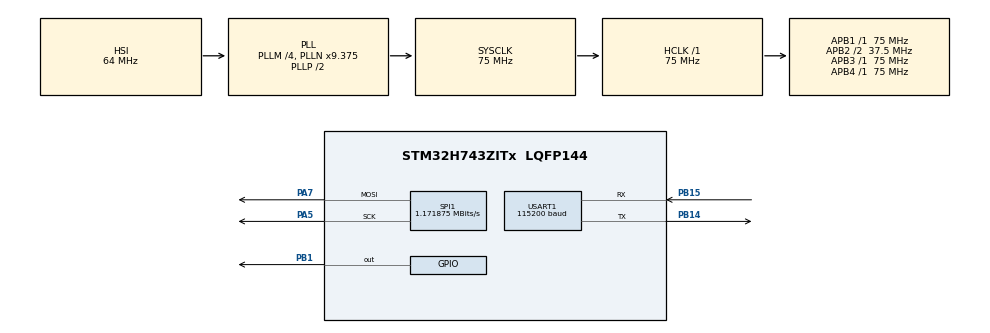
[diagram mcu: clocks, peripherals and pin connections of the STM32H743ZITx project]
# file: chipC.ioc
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CORTEX_M7.default_mode_Activation=1
Mcu.Family=STM32H7
Mcu.Name=STM32H743ZITx
Mcu.Package=LQFP144
NVIC.PriorityGroup=NVIC_PRIORITYGROUP_4
NVIC.USART1_IRQn=true\:0\:0\:false\:false\:true\:true\:true\:true
PA5.Mode=TX_Only_Simplex_Unidirect_Master
PA5.Signal=SPI1_SCK
PA7.Mode=TX_Only_Simplex_Unidirect_Master
PA7.Signal=SPI1_MOSI
PB1.GPIO_ModeDefaultOutputPP=GPIO_MODE_OUTPUT_PP
PB1.GPIO_Speed=GPIO_SPEED_FREQ_VERY_HIGH
PB1.PinState=GPIO_PIN_SET
PB1.Signal=GPIO_Output
PB14.Mode=Asynchronous
PB14.Signal=USART1_TX
PB15.Mode=Asynchronous
PB15.Signal=USART1_RX
ProjectManager.HeapSize=0x200
ProjectManager.StackSize=0x400
ProjectManager.TargetToolchain=CMake
RCC.ADCFreq_Value=129000000
RCC.APB1Freq_Value=75000000
RCC.APB2Freq_Value=37500000
RCC.APB3Freq_Value=75000000
RCC.APB4Freq_Value=75000000
RCC.CortexFreq_Value=75000000
RCC.D2PPRE2=RCC_APB2_DIV2
RCC.DIVM1=4
RCC.DIVN1=9
RCC.HCLKFreq_Value=75000000
RCC.PLLFRACN=3072
RCC.SYSCLKFreq_VALUE=75000000
RCC.SYSCLKSource=RCC_SYSCLKSOURCE_PLLCLK
RCC.USBFreq_Value=75000000
SPI1.BaudRatePrescaler=SPI_BAUDRATEPRESCALER_64
SPI1.CLKPhase=SPI_PHASE_2EDGE
SPI1.CLKPolarity=SPI_POLARITY_HIGH
SPI1.CalculateBaudRate=1.171875 MBits/s
SPI1.DataSize=SPI_DATASIZE_8BIT
SPI1.Direction=SPI_DIRECTION_2LINES_TXONLY
SPI1.Mode=SPI_MODE_MASTER
SPI1.VirtualType=VM_MASTER
USART1.BaudRate=115200
USART1.VirtualMode-Asynchronous=VM_ASYNC
VP_MEMORYMAP_VS_MEMORYMAP.Mode=CurAppReg
board=custom

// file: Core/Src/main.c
/* USER CODE BEGIN Header */
/**
  ******************************************************************************
  * @file           : main.c
  * @brief          : Main program body
  ******************************************************************************
  * @attention
  *
  * Copyright (c) 2026 STMicroelectronics.
  * All rights reserved.
  *
  * This software is licensed under terms that can be found in the LICENSE file
  * in the root directory of this software component.
  * If no LICENSE file comes with this software, it is provided AS-IS.
  *
  ******************************************************************************
  */
/* USER CODE END Header */
#include "main.h"

/* USER CODE BEGIN Includes */
#include <string.h>
#include "UI.h"
#include "fft_math.h"
#include "driver_st7789.h"
#include "driver_st7789_font.h"
/* USER CODE END Includes */

/* USER CODE BEGIN PD */

#define SCREEN_W   320
#define SCREEN_H   240

/* USER CODE END PD */

SPI_HandleTypeDef hspi1;

UART_HandleTypeDef huart1;

/* USER CODE BEGIN PV */

// 单字节接收缓冲(上位机指令)
uint8_t rx_data = '0';

// 示波器y轴缩放倍数
uint8_t y_scale = 1;

//上位机当前页状态标志
PAGE current_page = PAGE_PARAM;

//各页缓存, 第一位作为是否第一次的标志位
uint8_t frame_last[SCREEN_W + 1] = {0};
uint8_t frame_curr[SCREEN_W + 1] = {0};

/* USER CODE END PV */

void SystemClock_Config(void);
static void MPU_Config(void);
static void MX_GPIO_Init(void);
static void MX_USART1_UART_Init(void);
static void MX_SPI1_Init(void);

int main(void)
{

  /* MPU Configuration--------------------------------------------------------*/
  MPU_Config();

  /* MCU Configuration--------------------------------------------------------*/

  /* Reset of all peripherals, Initializes the Flash interface and the Systick. */
  HAL_Init();

  /* Configure the system clock */
  SystemClock_Config();

  /* Initialize all configured peripherals */
  MX_GPIO_Init();
  MX_USART1_UART_Init();
  MX_SPI1_Init();
  /* USER CODE BEGIN 2 */

  // 发送常量字符串或字符数组

  HAL_UART_Receive_IT(&huart1, &rx_data, 1);
  /* 初始化屏幕 */
    st7789_init();

    /* 画红色矩形块 */
    st7789_fill_rect(20, 20, 100, 100, ST7789_COLOR_RED);

    /* 显示字符串 */
    st7789_write_string(20, 120, "STM32H743 OK!", 13, ST7789_COLOR_WHITE, ST7789_FONT_24);

  //LCD_ShowString(20, 50, "Hello STM32!", LCD_WHITE, 24);
  /* USER CODE END 2 */

  /* Infinite loop */
  while (1)
  {

  }
}

void SystemClock_Config(void)
{
  RCC_OscInitTypeDef RCC_OscInitStruct = {0};
  RCC_ClkInitTypeDef RCC_ClkInitStruct = {0};

  /** Supply configuration update enable
  */
  HAL_PWREx_ConfigSupply(PWR_LDO_SUPPLY);

  /** Configure the main internal regulator output voltage
  */
  __HAL_PWR_VOLTAGESCALING_CONFIG(PWR_REGULATOR_VOLTAGE_SCALE3);

  while(!__HAL_PWR_GET_FLAG(PWR_FLAG_VOSRDY)) {}

  /** Initializes the RCC Oscillators according to the specified parameters
  * in the RCC_OscInitTypeDef structure.
  */
  RCC_OscInitStruct.OscillatorType = RCC_OSCILLATORTYPE_HSI;
  RCC_OscInitStruct.HSIState = RCC_HSI_DIV1;
  RCC_OscInitStruct.HSICalibrationValue = RCC_HSICALIBRATION_DEFAULT;
  RCC_OscInitStruct.PLL.PLLState = RCC_PLL_ON;
  RCC_OscInitStruct.PLL.PLLSource = RCC_PLLSOURCE_HSI;
  RCC_OscInitStruct.PLL.PLLM = 4;
  RCC_OscInitStruct.PLL.PLLN = 9;
  RCC_OscInitStruct.PLL.PLLP = 2;
  RCC_OscInitStruct.PLL.PLLQ = 2;
  RCC_OscInitStruct.PLL.PLLR = 2;
  RCC_OscInitStruct.PLL.PLLRGE = RCC_PLL1VCIRANGE_3;
  RCC_OscInitStruct.PLL.PLLVCOSEL = RCC_PLL1VCOMEDIUM;
  RCC_OscInitStruct.PLL.PLLFRACN = 3072;
  if (HAL_RCC_OscConfig(&RCC_OscInitStruct) != HAL_OK)
  {
    Error_Handler();
  }

  /** Initializes the CPU, AHB and APB buses clocks
  */
  RCC_ClkInitStruct.ClockType = RCC_CLOCKTYPE_HCLK|RCC_CLOCKTYPE_SYSCLK
                              |RCC_CLOCKTYPE_PCLK1|RCC_CLOCKTYPE_PCLK2
                              |RCC_CLOCKTYPE_D3PCLK1|RCC_CLOCKTYPE_D1PCLK1;
  RCC_ClkInitStruct.SYSCLKSource = RCC_SYSCLKSOURCE_PLLCLK;
  RCC_ClkInitStruct.SYSCLKDivider = RCC_SYSCLK_DIV1;
  RCC_ClkInitStruct.AHBCLKDivider = RCC_HCLK_DIV1;
  RCC_ClkInitStruct.APB3CLKDivider = RCC_APB3_DIV1;
  RCC_ClkInitStruct.APB1CLKDivider = RCC_APB1_DIV1;
  RCC_ClkInitStruct.APB2CLKDivider = RCC_APB2_DIV2;
  RCC_ClkInitStruct.APB4CLKDivider = RCC_APB4_DIV1;

  if (HAL_RCC_ClockConfig(&RCC_ClkInitStruct, FLASH_LATENCY_1) != HAL_OK)
  {
    Error_Handler();
  }
}

static void MX_SPI1_Init(void)
{

  /* SPI1 parameter configuration*/
  hspi1.Instance = SPI1;
  hspi1.Init.Mode = SPI_MODE_MASTER;
  hspi1.Init.Direction = SPI_DIRECTION_2LINES_TXONLY;
  hspi1.Init.DataSize = SPI_DATASIZE_8BIT;
  hspi1.Init.CLKPolarity = SPI_POLARITY_HIGH;
  hspi1.Init.CLKPhase = SPI_PHASE_2EDGE;
  hspi1.Init.NSS = SPI_NSS_SOFT;
  hspi1.Init.BaudRatePrescaler = SPI_BAUDRATEPRESCALER_64;
  hspi1.Init.FirstBit = SPI_FIRSTBIT_MSB;
  hspi1.Init.TIMode = SPI_TIMODE_DISABLE;
  hspi1.Init.CRCCalculation = SPI_CRCCALCULATION_DISABLE;
  hspi1.Init.CRCPolynomial = 0x0;
  hspi1.Init.NSSPMode = SPI_NSS_PULSE_ENABLE;
  hspi1.Init.NSSPolarity = SPI_NSS_POLARITY_LOW;
  hspi1.Init.FifoThreshold = SPI_FIFO_THRESHOLD_01DATA;
  hspi1.Init.TxCRCInitializationPattern = SPI_CRC_INITIALIZATION_ALL_ZERO_PATTERN;
  hspi1.Init.RxCRCInitializationPattern = SPI_CRC_INITIALIZATION_ALL_ZERO_PATTERN;
  hspi1.Init.MasterSSIdleness = SPI_MASTER_SS_IDLENESS_00CYCLE;
  hspi1.Init.MasterInterDataIdleness = SPI_MASTER_INTERDATA_IDLENESS_00CYCLE;
  hspi1.Init.MasterReceiverAutoSusp = SPI_MASTER_RX_AUTOSUSP_DISABLE;
  hspi1.Init.MasterKeepIOState = SPI_MASTER_KEEP_IO_STATE_DISABLE;
  hspi1.Init.IOSwap = SPI_IO_SWAP_DISABLE;
  if (HAL_SPI_Init(&hspi1) != HAL_OK)
  {
    Error_Handler();
  }

}

static void MX_USART1_UART_Init(void)
{

  huart1.Instance = USART1;
  huart1.Init.BaudRate = 115200;
  huart1.Init.WordLength = UART_WORDLENGTH_8B;
  huart1.Init.StopBits = UART_STOPBITS_1;
  huart1.Init.Parity = UART_PARITY_NONE;
  huart1.Init.Mode = UART_MODE_TX_RX;
  huart1.Init.HwFlowCtl = UART_HWCONTROL_NONE;
  huart1.Init.OverSampling = UART_OVERSAMPLING_16;
  huart1.Init.OneBitSampling = UART_ONE_BIT_SAMPLE_DISABLE;
  huart1.Init.ClockPrescaler = UART_PRESCALER_DIV1;
  huart1.AdvancedInit.AdvFeatureInit = UART_ADVFEATURE_NO_INIT;
  if (HAL_UART_Init(&huart1) != HAL_OK)
  {
    Error_Handler();
  }
  if (HAL_UARTEx_SetTxFifoThreshold(&huart1, UART_TXFIFO_THRESHOLD_1_8) != HAL_OK)
  {
    Error_Handler();
  }
  if (HAL_UARTEx_SetRxFifoThreshold(&huart1, UART_RXFIFO_THRESHOLD_1_8) != HAL_OK)
  {
    Error_Handler();
  }
  if (HAL_UARTEx_DisableFifoMode(&huart1) != HAL_OK)
  {
    Error_Handler();
  }

}

static void MX_GPIO_Init(void)
{
  GPIO_InitTypeDef GPIO_InitStruct = {0};

  /* GPIO Ports Clock Enable */
  __HAL_RCC_GPIOA_CLK_ENABLE();
  __HAL_RCC_GPIOB_CLK_ENABLE();

  /*Configure GPIO pin Output Level */
  HAL_GPIO_WritePin(GPIOB, GPIO_PIN_1, GPIO_PIN_SET);

  /*Configure GPIO pin : PB1 */
  GPIO_InitStruct.Pin = GPIO_PIN_1;
  GPIO_InitStruct.Mode = GPIO_MODE_OUTPUT_PP;
  GPIO_InitStruct.Pull = GPIO_NOPULL;
  GPIO_InitStruct.Speed = GPIO_SPEED_FREQ_VERY_HIGH;
  HAL_GPIO_Init(GPIOB, &GPIO_InitStruct);

}

/* USER CODE BEGIN 4 */
void HAL_UART_RxCpltCallback(UART_HandleTypeDef *huart)
{
    if (huart->Instance == USART1)
    {
        /* 1. 处理接收到的字节 rx_data */
        // 例：写入环形缓冲区或解析协议
        switch (rx_data) {
          case 'T': HAL_UART_Transmit(&huart1, (uint8_t *)"CMD_OK\n", strlen("CMD_OK\n"), 100); break;         //收发测试
          case 'M': current_page = PAGE_PARAM;                                                  break;         // 参数页
          case 'W': current_page = PAGE_WAVE;                                                   break;         // 波形页
          case 'F': current_page = PAGE_FFT;                                                    break;         // FFT 频谱页
          case 'P': page_prev(&current_page);                                                   break;         // 上一页
          case 'N': page_next(&current_page);                                                   break;         // 下一页
          case '1': y_zoom_in(1);                                                               break;         // Y轴 x1
          case '2': y_zoom_in(2);                                                               break;         // Y轴 x2
          case '4': y_zoom_in(4);                                                               break;         // Y轴 x4
          case '8': y_zoom_in(8);                                                               break;         // Y轴 x8
          case '+': x_zoom_in();                                                                break;         // X轴放大
          case '-': x_zoom_out();                                                               break;         // X轴缩小
          case 'L': x_shift_left();                                                             break;         // X轴左移
          case 'R': x_shift_right();                                                            break;         // X轴右移
          case '0': reset_view();                                                               break;         // 复位缩放与平移
          case 'S': run_stop_toggle();                                                          break;         // 暂停/继续采样
      }
      /* 2. 关键：HAL 的接收中断是一次性的，必须再次调用启动下一次接收 */
      HAL_UART_Receive_IT(&huart1, &rx_data, 1);
    }
}
/* USER CODE END 4 */

 /* MPU Configuration */

void MPU_Config(void)
{
  MPU_Region_InitTypeDef MPU_InitStruct = {0};

  /* Disables the MPU */
  HAL_MPU_Disable();

  /** Initializes and configures the Region and the memory to be protected
  */
  MPU_InitStruct.Enable = MPU_REGION_ENABLE;
  MPU_InitStruct.Number = MPU_REGION_NUMBER0;
  MPU_InitStruct.BaseAddress = 0x0;
  MPU_InitStruct.Size = MPU_REGION_SIZE_4GB;
  MPU_InitStruct.SubRegionDisable = 0x87;
  MPU_InitStruct.TypeExtField = MPU_TEX_LEVEL0;
  MPU_InitStruct.AccessPermission = MPU_REGION_NO_ACCESS;
  MPU_InitStruct.DisableExec = MPU_INSTRUCTION_ACCESS_DISABLE;
  MPU_InitStruct.IsShareable = MPU_ACCESS_SHAREABLE;
  MPU_InitStruct.IsCacheable = MPU_ACCESS_NOT_CACHEABLE;
  MPU_InitStruct.IsBufferable = MPU_ACCESS_NOT_BUFFERABLE;

  HAL_MPU_ConfigRegion(&MPU_InitStruct);
  /* Enables the MPU */
  HAL_MPU_Enable(MPU_PRIVILEGED_DEFAULT);

}

void Error_Handler(void)
{
  __disable_irq();
  while (1)
  {
  }
}
